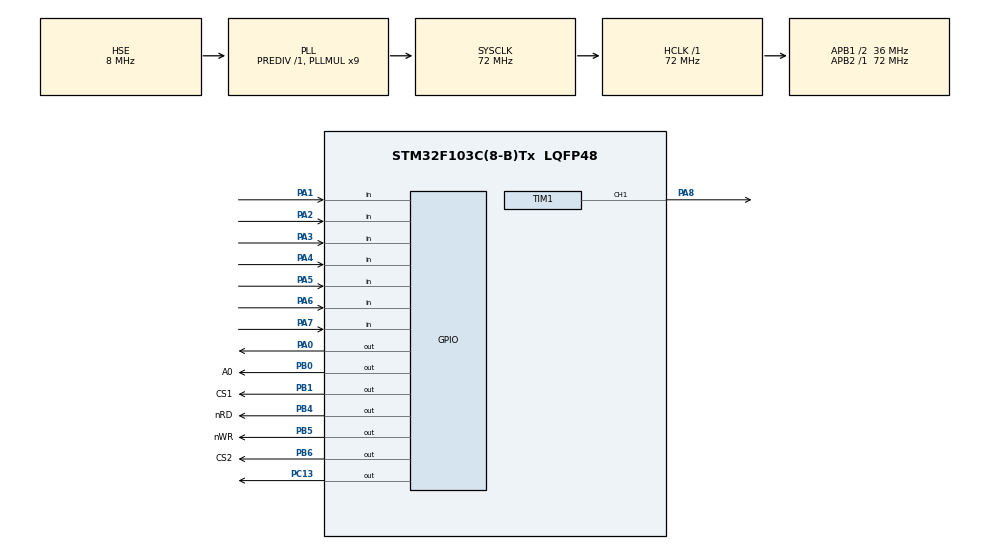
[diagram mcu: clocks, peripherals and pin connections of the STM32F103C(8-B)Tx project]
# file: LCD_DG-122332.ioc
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Mcu.Family=STM32F1
Mcu.Name=STM32F103C(8-B)Tx
Mcu.Package=LQFP48
NVIC.PriorityGroup=NVIC_PRIORITYGROUP_4
PA0-WKUP.Signal=GPIO_Output
PA1.Signal=GPIO_Input
PA13.Mode=Serial_Wire
PA13.Signal=SYS_JTMS-SWDIO
PA14.Mode=Serial_Wire
PA14.Signal=SYS_JTCK-SWCLK
PA2.Signal=GPIO_Input
PA3.Signal=GPIO_Input
PA4.Signal=GPIO_Input
PA5.Signal=GPIO_Input
PA6.Signal=GPIO_Input
PA7.Signal=GPIO_Input
PA8.Signal=S_TIM1_CH1
PB0.GPIO_Label=A0
PB0.Signal=GPIO_Output
PB1.GPIO_Label=CS1
PB1.Signal=GPIO_Output
PB4.GPIO_Label=nRD
PB4.Signal=GPIO_Output
PB5.GPIO_Label=nWR
PB5.Signal=GPIO_Output
PB6.GPIO_Label=CS2
PB6.Signal=GPIO_Output
PC13-TAMPER-RTC.Signal=GPIO_Output
PC14-OSC32_IN.Mode=LSE-External-Oscillator
PC14-OSC32_IN.Signal=RCC_OSC32_IN
PC15-OSC32_OUT.Mode=LSE-External-Oscillator
PC15-OSC32_OUT.Signal=RCC_OSC32_OUT
PD0-OSC_IN.Mode=HSE-External-Oscillator
PD0-OSC_IN.Signal=RCC_OSC_IN
PD1-OSC_OUT.Mode=HSE-External-Oscillator
PD1-OSC_OUT.Signal=RCC_OSC_OUT
ProjectManager.HeapSize=0x600
ProjectManager.StackSize=0x300
ProjectManager.TargetToolchain=MDK-ARM V5
RCC.AHBFreq_Value=72000000
RCC.APB1CLKDivider=RCC_HCLK_DIV2
RCC.APB1Freq_Value=36000000
RCC.APB1TimFreq_Value=72000000
RCC.APB2Freq_Value=72000000
RCC.APB2TimFreq_Value=72000000
RCC.HCLKFreq_Value=72000000
RCC.HSIState=RCC_HSI_ON
RCC.PLLMUL=RCC_PLL_MUL9
RCC.PLLSourceVirtual=RCC_PLLSOURCE_HSE
RCC.SYSCLKFreq_VALUE=72000000
RCC.SYSCLKSource=RCC_SYSCLKSOURCE_PLLCLK
RCC.USBFreq_Value=72000000
SH.S_TIM1_CH1.0=TIM1_CH1,PWM Generation1 CH1
TIM1.Period=1000
TIM1.Prescaler=360
TIM1.Pulse-PWM\ Generation1\ CH1=500
board=LCD_DG-122332

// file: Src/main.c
/**
  ******************************************************************************
  * File Name          : main.c
  * Description        : Main program body
  ******************************************************************************
  *
  * COPYRIGHT(c) 2016 STMicroelectronics
  *
  * Redistribution and use in source and binary forms, with or without modification,
  * are permitted provided that the following conditions are met:
  *   1. Redistributions of source code must retain the above copyright notice,
  *      this list of conditions and the following disclaimer.
  *   2. Redistributions in binary form must reproduce the above copyright notice,
  *      this list of conditions and the following disclaimer in the documentation
  *      and/or other materials provided with the distribution.
  *   3. Neither the name of STMicroelectronics nor the names of its contributors
  *      may be used to endorse or promote products derived from this software
  *      without specific prior written permission.
  *
  * THIS SOFTWARE IS PROVIDED BY THE COPYRIGHT HOLDERS AND CONTRIBUTORS "AS IS"
  * AND ANY EXPRESS OR IMPLIED WARRANTIES, INCLUDING, BUT NOT LIMITED TO, THE
  * IMPLIED WARRANTIES OF MERCHANTABILITY AND FITNESS FOR A PARTICULAR PURPOSE ARE
  * DISCLAIMED. IN NO EVENT SHALL THE COPYRIGHT HOLDER OR CONTRIBUTORS BE LIABLE
  * FOR ANY DIRECT, INDIRECT, INCIDENTAL, SPECIAL, EXEMPLARY, OR CONSEQUENTIAL
  * DAMAGES (INCLUDING, BUT NOT LIMITED TO, PROCUREMENT OF SUBSTITUTE GOODS OR
  * SERVICES; LOSS OF USE, DATA, OR PROFITS; OR BUSINESS INTERRUPTION) HOWEVER
  * CAUSED AND ON ANY THEORY OF LIABILITY, WHETHER IN CONTRACT, STRICT LIABILITY,
  * OR TORT (INCLUDING NEGLIGENCE OR OTHERWISE) ARISING IN ANY WAY OUT OF THE USE
  * OF THIS SOFTWARE, EVEN IF ADVISED OF THE POSSIBILITY OF SUCH DAMAGE.
  *
  ******************************************************************************
  */
#include "stm32f1xx_hal.h"
#include "tim.h"
#include "gpio.h"

/* USER CODE BEGIN Includes */
#include <SED-1520DAA.h>
#include "stdio.h"

#define ITM_Port8(n)    (*((volatile unsigned char *)(0xE0000000+4*n)))
#define ITM_Port16(n)   (*((volatile unsigned short*)(0xE0000000+4*n)))
#define ITM_Port32(n)   (*((volatile unsigned long *)(0xE0000000+4*n)))

#define DEMCR           (*((volatile unsigned long *)(0xE000EDFC)))
#define TRCENA          0x01000000

struct __FILE { int handle; /* Add whatever is needed */ };
FILE __stdout;
FILE __stdin;

int fputc(int ch, FILE *f) {
  if (DEMCR & TRCENA) {
    while (ITM_Port32(0) == 0);
    ITM_Port8(0) = ch;
  }
  return(ch);
}

/* USER CODE END Includes */

/* USER CODE BEGIN PV */
/* Private variables ---------------------------------------------------------*/

/* USER CODE END PV */

void SystemClock_Config(void);

/* USER CODE BEGIN PFP */
/* Private function prototypes -----------------------------------------------*/

/* USER CODE END PFP */

int main(void)
{

  /* USER CODE BEGIN 1 */
	LCD_Handle LCD;
	LCD.A_0.Port = GPIOB;		LCD.A_0.Pin = GPIO_PIN_0;
	LCD.CS2.Port = GPIOB;		LCD.CS2.Pin = GPIO_PIN_1;
	LCD.CS1.Port = GPIOB;		LCD.CS1.Pin = GPIO_PIN_6;
	LCD.nRD.Port = GPIOB;		LCD.nRD.Pin = GPIO_PIN_4;
	LCD.nWR.Port = GPIOB;		LCD.nWR.Pin = GPIO_PIN_5;
	LCD.DB0.Port = GPIOA;		LCD.DB0.Pin = GPIO_PIN_0;
	LCD.DB1.Port = GPIOA;		LCD.DB1.Pin = GPIO_PIN_1;
	LCD.DB2.Port = GPIOA;		LCD.DB2.Pin = GPIO_PIN_2;
	LCD.DB3.Port = GPIOA;		LCD.DB3.Pin = GPIO_PIN_3;
	LCD.DB4.Port = GPIOA;		LCD.DB4.Pin = GPIO_PIN_4;
	LCD.DB5.Port = GPIOA;		LCD.DB5.Pin = GPIO_PIN_5;
	LCD.DB6.Port = GPIOA;		LCD.DB6.Pin = GPIO_PIN_6;
	LCD.DB7.Port = GPIOA;		LCD.DB7.Pin = GPIO_PIN_7;

  /* USER CODE END 1 */

  /* MCU Configuration----------------------------------------------------------*/

  /* Reset of all peripherals, Initializes the Flash interface and the Systick. */
  HAL_Init();

  /* Configure the system clock */
  SystemClock_Config();

  /* Initialize all configured peripherals */
  MX_GPIO_Init();
  MX_TIM1_Init();

  /* USER CODE BEGIN 2 */

	HAL_TIM_PWM_Start(&htim1, TIM_CHANNEL_1);

	LCD_init(&LCD);

	for(int i=0; i<30; i++){
		printf("Status %d: %d\n", i, read_status(&LCD, 0));
	}

	for(int i=0; i<80; i++){
		LCD_Write_Pxl(&LCD,1,1,LCD_PXL_SET);
	}

  /* USER CODE END 2 */

  /* Infinite loop */
  /* USER CODE BEGIN WHILE */
  while (1)
  {

		//LCD_init(&LCD);
		for(int i=0; i<80; i++){
			LCD_Write_Pxl(&LCD,i,i,LCD_PXL_SET);
		}
		/*int x,y;
		for(x=0; x<122; x++){
			for(y=0; y<32; y++){
				LCD_Write_Pxl(&LCD,x,y,LCD_PXL_SET);
			}
		}*/
		HAL_GPIO_TogglePin(GPIOC, GPIO_PIN_13);
		HAL_Delay(250);

  /* USER CODE END WHILE */

  }

}

/** System Clock Configuration
*/
void SystemClock_Config(void)
{

  RCC_OscInitTypeDef RCC_OscInitStruct;
  RCC_ClkInitTypeDef RCC_ClkInitStruct;

  RCC_OscInitStruct.OscillatorType = RCC_OSCILLATORTYPE_HSE;
  RCC_OscInitStruct.HSEState = RCC_HSE_ON;
  RCC_OscInitStruct.HSEPredivValue = RCC_HSE_PREDIV_DIV1;
  RCC_OscInitStruct.PLL.PLLState = RCC_PLL_ON;
  RCC_OscInitStruct.PLL.PLLSource = RCC_PLLSOURCE_HSE;
  RCC_OscInitStruct.PLL.PLLMUL = RCC_PLL_MUL9;
  HAL_RCC_OscConfig(&RCC_OscInitStruct);

  RCC_ClkInitStruct.ClockType = RCC_CLOCKTYPE_HCLK|RCC_CLOCKTYPE_SYSCLK
                              |RCC_CLOCKTYPE_PCLK1|RCC_CLOCKTYPE_PCLK2;
  RCC_ClkInitStruct.SYSCLKSource = RCC_SYSCLKSOURCE_PLLCLK;
  RCC_ClkInitStruct.AHBCLKDivider = RCC_SYSCLK_DIV1;
  RCC_ClkInitStruct.APB1CLKDivider = RCC_HCLK_DIV2;
  RCC_ClkInitStruct.APB2CLKDivider = RCC_HCLK_DIV1;
  HAL_RCC_ClockConfig(&RCC_ClkInitStruct, FLASH_LATENCY_2);

  HAL_SYSTICK_Config(HAL_RCC_GetHCLKFreq()/1000);

  HAL_SYSTICK_CLKSourceConfig(SYSTICK_CLKSOURCE_HCLK);

  /* SysTick_IRQn interrupt configuration */
  HAL_NVIC_SetPriority(SysTick_IRQn, 0, 0);
}

/************************ (C) COPYRIGHT STMicroelectronics *****END OF FILE****/
